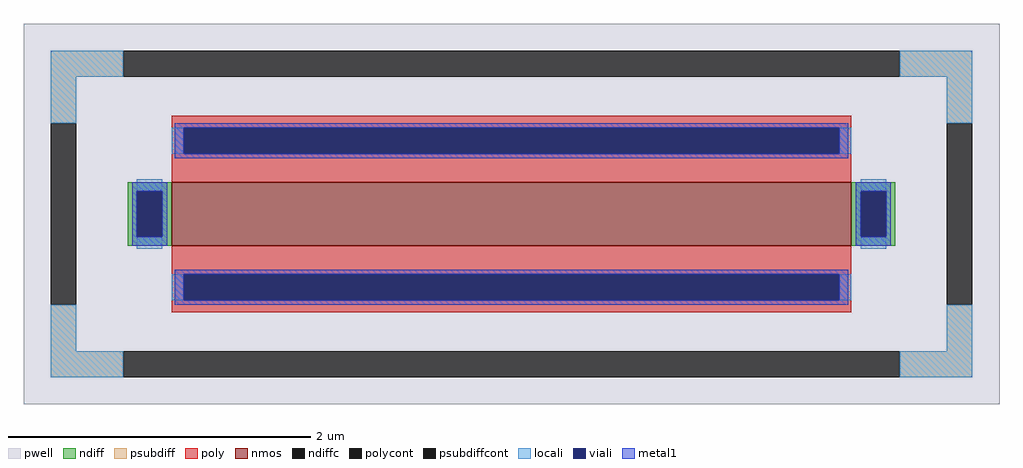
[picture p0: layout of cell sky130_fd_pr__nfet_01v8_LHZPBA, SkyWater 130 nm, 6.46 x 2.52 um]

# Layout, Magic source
magic
tech sky130A
<< pwell >>
rect -323 -126 323 126
<< nmos >>
rect -225 -21 225 21
<< ndiff >>
rect -254 15 -225 21
rect -254 -15 -248 15
rect -231 -15 -225 15
rect -254 -21 -225 -15
rect 225 15 254 21
rect 225 -15 231 15
rect 248 -15 254 15
rect 225 -21 254 -15
<< ndiffc >>
rect -248 -15 -231 15
rect 231 -15 248 15
<< psubdiff >>
rect -305 91 -257 108
rect 257 91 305 108
rect -305 60 -288 91
rect 288 60 305 91
rect -305 -91 -288 -60
rect 288 -91 305 -60
rect -305 -108 -257 -91
rect 257 -108 305 -91
<< psubdiffcont >>
rect -257 91 257 108
rect -305 -60 -288 60
rect 288 -60 305 60
rect -257 -108 257 -91
<< poly >>
rect -225 57 225 65
rect -225 40 -217 57
rect 217 40 225 57
rect -225 21 225 40
rect -225 -40 225 -21
rect -225 -57 -217 -40
rect 217 -57 225 -40
rect -225 -65 225 -57
<< polycont >>
rect -217 40 217 57
rect -217 -57 217 -40
<< locali >>
rect -305 91 -257 108
rect 257 91 305 108
rect -305 60 -288 91
rect 288 60 305 91
rect -225 40 -217 57
rect 217 40 225 57
rect -248 15 -231 23
rect -248 -23 -231 -15
rect 231 15 248 23
rect 231 -23 248 -15
rect -225 -57 -217 -40
rect 217 -57 225 -40
rect -305 -91 -288 -60
rect 288 -91 305 -60
rect -305 -108 -257 -91
rect 257 -108 305 -91
<< viali >>
rect -217 40 217 57
rect -248 -15 -231 15
rect 231 -15 248 15
rect -217 -57 217 -40
<< metal1 >>
rect -223 57 223 60
rect -223 40 -217 57
rect 217 40 223 57
rect -223 37 223 40
rect -251 15 -228 21
rect -251 -15 -248 15
rect -231 -15 -228 15
rect -251 -21 -228 -15
rect 228 15 251 21
rect 228 -15 231 15
rect 248 -15 251 15
rect 228 -21 251 -15
rect -223 -40 223 -37
rect -223 -57 -217 -40
rect 217 -57 223 -40
rect -223 -60 223 -57
<< properties >>
string FIXED_BBOX -296 -99 296 99
string gencell sky130_fd_pr__nfet_01v8
string library sky130
string parameters w 0.42 l 4.5 m 1 nf 1 diffcov 100 polycov 100 guard 1 glc 1 grc 1 gtc 1 gbc 1 tbcov 100 rlcov 100 topc 1 botc 1 poverlap 0 doverlap 1 lmin 0.15 wmin 0.42 compatible {sky130_fd_pr__nfet_01v8 sky130_fd_pr__nfet_01v8_lvt  sky130_fd_bs_flash__special_sonosfet_star  sky130_fd_pr__nfet_g5v0d10v5 sky130_fd_pr__nfet_05v0_nvt  sky130_fd_pr__nfet_03v3_nvt} full_metal 1 viasrc 100 viadrn 100 viagate 100 viagb 0 viagr 0 viagl 0 viagt 0
<< end >>
